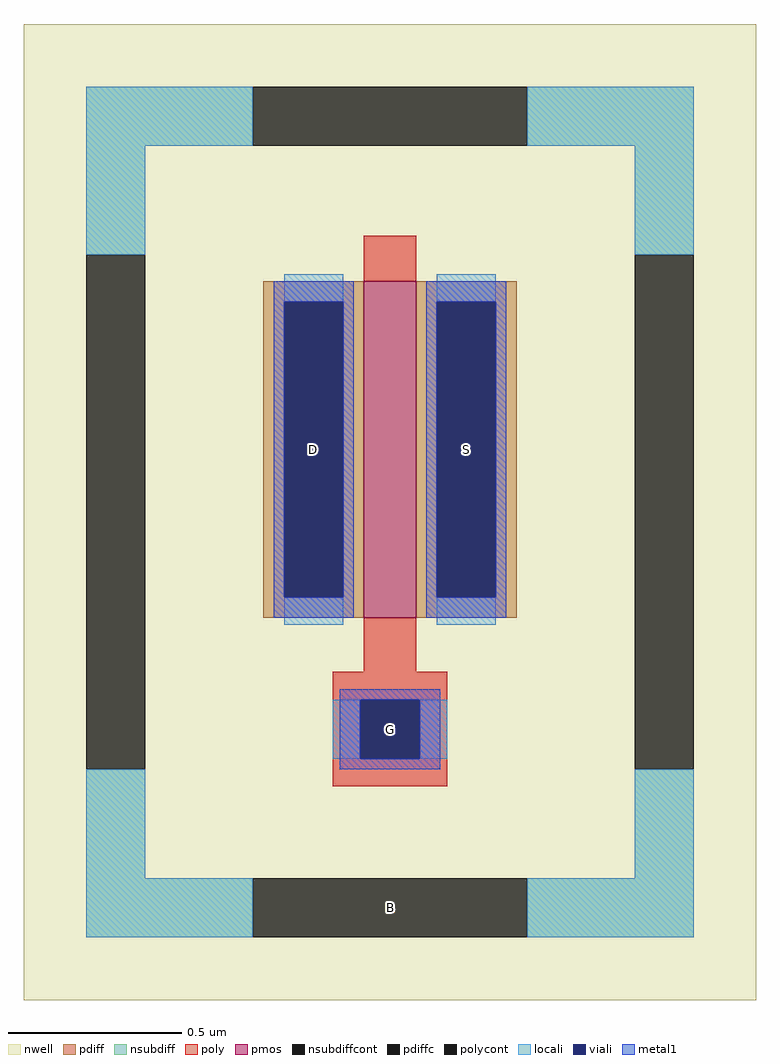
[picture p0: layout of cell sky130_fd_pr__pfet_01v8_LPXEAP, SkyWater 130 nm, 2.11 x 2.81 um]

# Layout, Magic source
magic
tech sky130A
magscale 1 2
<< nwell >>
rect -211 -281 211 281
<< pmos >>
rect -15 -61 15 133
<< pdiff >>
rect -73 121 -15 133
rect -73 -49 -61 121
rect -27 -49 -15 121
rect -73 -61 -15 -49
rect 15 121 73 133
rect 15 -49 27 121
rect 61 -49 73 121
rect 15 -61 73 -49
<< pdiffc >>
rect -61 -49 -27 121
rect 27 -49 61 121
<< nsubdiff >>
rect -175 211 -79 245
rect 79 211 175 245
rect -175 148 -141 211
rect 141 148 175 211
rect -175 -211 -141 -148
rect 141 -211 175 -148
rect -175 -245 -79 -211
rect 79 -245 175 -211
<< nsubdiffcont >>
rect -79 211 79 245
rect -175 -148 -141 148
rect 141 -148 175 148
rect -79 -245 79 -211
<< poly >>
rect -15 133 15 159
rect -15 -92 15 -61
rect -33 -108 33 -92
rect -33 -142 -17 -108
rect 17 -142 33 -108
rect -33 -158 33 -142
<< polycont >>
rect -17 -142 17 -108
<< locali >>
rect -175 211 -79 245
rect 79 211 175 245
rect -175 148 -141 211
rect 141 148 175 211
rect -61 121 -27 137
rect -61 -65 -27 -49
rect 27 121 61 137
rect 27 -65 61 -49
rect -33 -142 -17 -108
rect 17 -142 33 -108
rect -175 -211 -141 -148
rect 141 -211 175 -148
rect -175 -245 -79 -211
rect 79 -245 175 -211
<< viali >>
rect -61 -49 -27 121
rect 27 -49 61 121
rect -17 -142 17 -108
<< metal1 >>
rect -67 121 -21 133
rect -67 -49 -61 121
rect -27 -49 -21 121
rect -67 -61 -21 -49
rect 21 121 67 133
rect 21 -49 27 121
rect 61 -49 67 121
rect 21 -61 67 -49
rect -29 -108 29 -102
rect -29 -142 -17 -108
rect 17 -142 29 -108
rect -29 -148 29 -142
<< labels >>
rlabel nsubdiffcont 0 -228 0 -228 0 B
port 5 nsew
rlabel pdiffc -44 36 -44 36 0 D
port 6 nsew
rlabel pdiffc 44 36 44 36 0 S
port 7 nsew
rlabel polycont 0 -125 0 -125 0 G
port 8 nsew
<< properties >>
string FIXED_BBOX -158 -228 158 228
string gencell sky130_fd_pr__pfet_01v8
string library sky130
string parameters w 0.97 l 0.15 m 1 nf 1 diffcov 100 polycov 100 guard 1 glc 1 grc 1 gtc 1 gbc 1 tbcov 100 rlcov 100 topc 0 botc 1 poverlap 0 doverlap 1 lmin 0.15 wmin 0.42 class mosfet compatible {sky130_fd_pr__pfet_01v8  sky130_fd_pr__pfet_01v8_lvt sky130_fd_pr__pfet_01v8_hvt  sky130_fd_pr__pfet_g5v0d10v5} full_metal 1 conn_gates 0 viasrc 100 viadrn 100 viagate 100 viagb 0 viagr 0 viagl 0 viagt 0 doports 1
<< end >>
